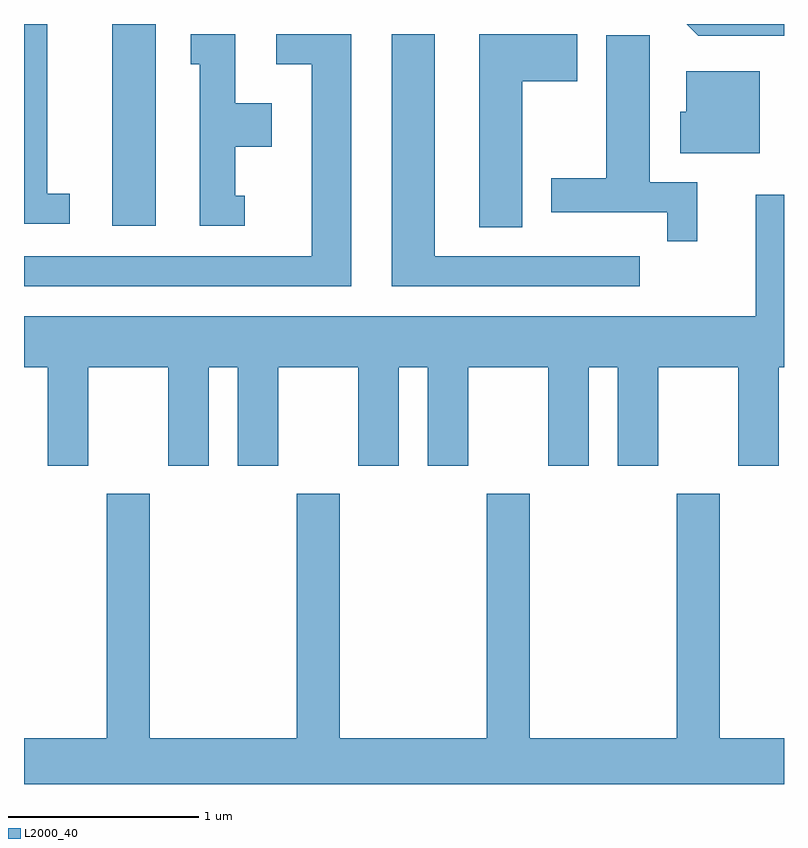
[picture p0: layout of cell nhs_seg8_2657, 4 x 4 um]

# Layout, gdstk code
import gdstk
lib = gdstk.Library(unit=1e-6, precision=1e-09)
def R(c, l, rs):  # rectangles x0, y0, x1, y1
    for r in rs: c.add(gdstk.rectangle(r[:2], r[2:], *l))
def P(c, l, *ps):  # polygons
    for p in ps: c.add(gdstk.Polygon(p, *l))
L2000_40 = (2000, 40)

nhs_seg8_2657 = lib.new_cell('nhs_seg8_2657')
R(nhs_seg8_2657, L2000_40, [(264.076,1939.281,264.304,1940.342)])
P(nhs_seg8_2657, L2000_40, [(267.611,1940.342),(267.098,1940.342),(267.159,1940.281),(267.611,1940.281)],
  [(263.853,1939.449),(263.734,1939.449),(263.734,1940.342),(263.611,1940.342),(263.611,1939.291),(263.853,1939.291)],
  [(265.334,1940.289),(264.938,1940.289),(264.938,1940.131),(265.126,1940.131),(265.126,1939.119),(263.611,1939.119),(263.611,1938.961),(265.334,1938.961)],
  [(266.234,1940.041),(266.524,1940.041),(266.524,1940.289),(266.006,1940.289),(266.006,1939.271),(266.234,1939.271)],
  [(266.853,1939.119),(265.774,1939.119),(265.774,1940.289),(265.546,1940.289),(265.546,1938.961),(266.853,1938.961)],
  [(264.773,1939.439),(264.724,1939.439),(264.724,1939.696),(264.914,1939.696),(264.914,1939.924),(264.724,1939.924),(264.724,1940.289),(264.488,1940.289),(264.488,1940.131),(264.536,1940.131),(264.536,1939.281),(264.773,1939.281)],
  [(267.154,1939.509),(266.904,1939.509),(266.904,1940.284),(266.676,1940.284),(266.676,1939.529),(266.386,1939.529),(266.386,1939.351),(266.996,1939.351),(266.996,1939.198),(267.154,1939.198)],
  [(267.484,1940.094),(267.096,1940.094),(267.096,1939.879),(267.066,1939.879),(267.066,1939.661),(267.484,1939.661)],
  [(263.949,1938.536),(264.371,1938.536),(264.371,1938.016),(264.584,1938.016),(264.584,1938.536),(264.736,1938.536),(264.736,1938.016),(264.949,1938.016),(264.949,1938.536),(265.371,1938.536),(265.371,1938.016),(265.584,1938.016),(265.584,1938.536),(265.736,1938.536),(265.736,1938.016),(265.949,1938.016),(265.949,1938.536),(266.371,1938.536),(266.371,1938.016),(266.584,1938.016),(266.584,1938.536),(266.736,1938.536),(266.736,1938.016),(266.949,1938.016),(266.949,1938.536),(267.371,1938.536),(267.371,1938.016),(267.584,1938.016),(267.584,1938.536),(267.611,1938.536),(267.611,1939.443),(267.461,1939.443),(267.461,1938.804),(263.611,1938.804),(263.611,1938.536),(263.736,1938.536),(263.736,1938.016),(263.949,1938.016)],
  [(267.611,1936.584),(267.274,1936.584),(267.274,1937.869),(267.046,1937.869),(267.046,1936.584),(266.274,1936.584),(266.274,1937.869),(266.046,1937.869),(266.046,1936.584),(265.274,1936.584),(265.274,1937.869),(265.046,1937.869),(265.046,1936.584),(264.274,1936.584),(264.274,1937.869),(264.046,1937.869),(264.046,1936.584),(263.611,1936.584),(263.611,1936.342),(267.611,1936.342)])

lib.write_gds('nhs_seg8_2657.gds')
